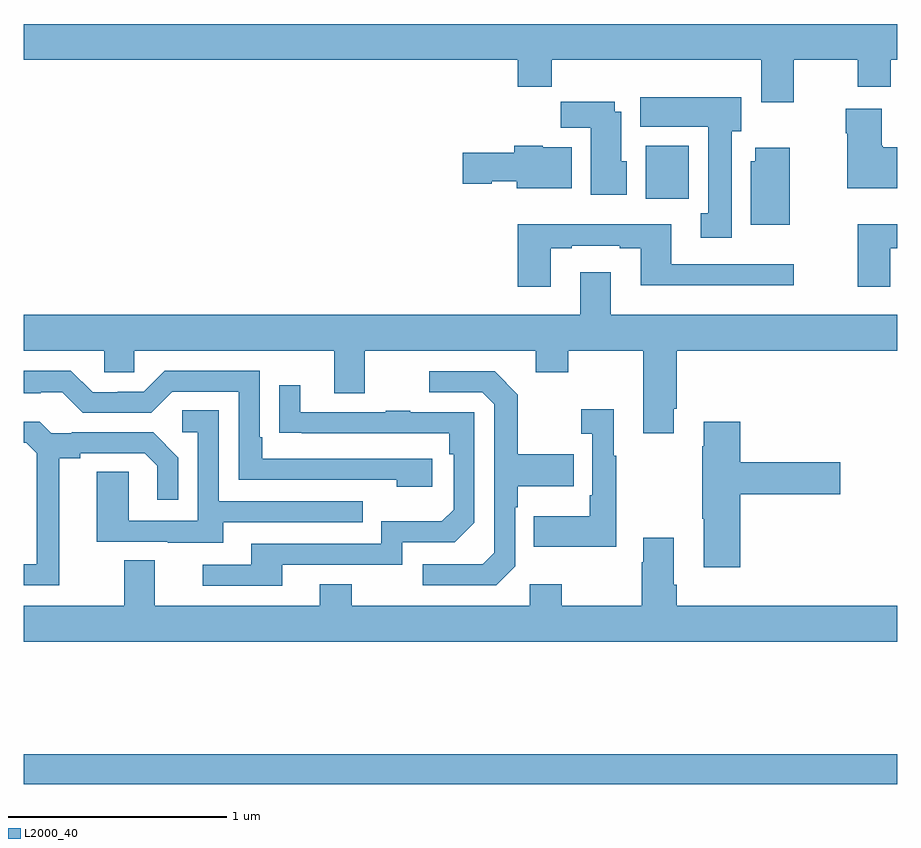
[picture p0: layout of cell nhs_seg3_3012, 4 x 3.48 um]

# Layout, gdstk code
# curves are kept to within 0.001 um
import gdstk
lib = gdstk.Library(unit=1e-6, precision=1e-09)
def R(c, l, rs):  # rectangles x0, y0, x1, y1
    for r in rs: c.add(gdstk.rectangle(r[:2], r[2:], *l))
def P(c, l, *ps):  # polygons
    for p in ps: c.add(gdstk.Polygon(p, *l))
L2000_40 = (2000, 40)

nhs_seg3_3012 = lib.new_cell('nhs_seg3_3012')
R(nhs_seg3_3012, L2000_40, [(267,714.916,271,715.052), (269.849,717.596,270.046,717.838)])
P(nhs_seg3_3012, L2000_40, [(270.525,718.232),(270.82,718.232),(270.82,718.108),(270.971,718.108),(270.971,718.232),(271,718.232),(271,718.396),(267,718.396),(267,718.232),(269.261,718.232),(269.261,718.108),(269.417,718.108),(269.417,718.232),(270.377,718.232),(270.377,718.038),(270.525,718.038)],
  [(270.241,717.906),(270.286,717.906),(270.286,718.06),(269.822,718.06),(269.822,717.926),(270.134,717.926),(270.134,717.53),(270.101,717.53),(270.101,717.417),(270.241,717.417)],
  [(269.761,717.768),(269.737,717.768),(269.737,717.994),(269.707,717.994),(269.707,718.039),(269.458,718.039),(269.458,717.92),(269.597,717.92),(269.597,717.614),(269.761,717.614)],
  [(271,717.832),(270.934,717.832),(270.934,717.838),(270.928,717.838),(270.928,718.009),(270.763,718.009),(270.763,717.896),(270.77,717.896),(270.77,717.644),(271,717.644)],
  [(269.509,717.832),(269.376,717.832),(269.376,717.838),(269.246,717.838),(269.246,717.807),(269.01,717.807),(269.01,717.665),(269.142,717.665),(269.142,717.677),(269.258,717.677),(269.258,717.644),(269.509,717.644)],
  [(270.508,717.829),(270.35,717.829),(270.35,717.768),(270.329,717.768),(270.329,717.476),(270.508,717.476)],
  [(270.967,717.369),(271,717.369),(271,717.478),(270.82,717.478),(270.82,717.192),(270.967,717.192)],
  [(269.413,717.369),(269.509,717.369),(269.509,717.381),(269.729,717.381),(269.729,717.369),(269.825,717.369),(269.825,717.2),(270.526,717.2),(270.526,717.297),(269.965,717.297),(269.965,717.478),(269.261,717.478),(269.261,717.192),(269.413,717.192)],
  [(269.977,716.635),(269.99,716.635),(269.99,716.9),(271,716.9),(271,717.064),(269.689,717.064),(269.689,717.259),(269.549,717.259),(269.549,717.064),(267,717.064),(267,716.9),(267.369,716.9),(267.369,716.802),(267.507,716.802),(267.507,716.9),(268.421,716.9),(268.421,716.706),(268.561,716.706),(268.561,716.9),(269.345,716.9),(269.345,716.801),(269.493,716.801),(269.493,716.9),(269.837,716.9),(269.837,716.523),(269.977,716.523)],
  [(268.87,716.406),(268.093,716.406),(268.093,716.503),(268.08,716.503),(268.08,716.808),(267.645,716.808),(267.549,716.712),(267.431,716.712),(267.431,716.709),(267.315,716.709),(267.215,716.809),(267,716.809),(267,716.705),(267.077,716.705),(267.077,716.709),(267.177,716.709),(267.27,716.616),(267.585,716.616),(267.681,716.712),(267.984,716.712),(267.984,716.31),(268.709,716.31),(268.709,716.276),(268.87,716.276)],
  [(269.25,715.914),(269.25,716.183),(269.263,716.183),(269.263,716.279),(269.519,716.279),(269.519,716.427),(269.263,716.427),(269.263,716.699),(269.157,716.805),(268.857,716.805),(268.857,716.709),(269.1,716.709),(269.154,716.655),(269.154,715.974),(269.103,715.923),(268.827,715.923),(268.827,715.827),(269.163,715.827)],
  [(268.183,715.92),(268.734,715.92),(268.734,716.022),(268.974,716.022),(269.064,716.112),(269.064,716.619),(268.769,716.619),(268.769,716.624),(268.657,716.624),(268.657,716.619),(268.267,716.619),(268.267,716.743),(268.171,716.743),(268.171,716.524),(268.948,716.523),(268.948,716.426),(268.968,716.426),(268.968,716.172),(268.915,716.119),(268.638,716.119),(268.638,716.016),(268.043,716.016),(268.043,715.92),(267.819,715.92),(267.819,715.824),(268.183,715.824)],
  [(269.713,716.419),(269.701,716.419),(269.701,716.632),(269.553,716.632),(269.553,716.519),(269.604,716.519),(269.604,716.239),(269.592,716.239),(269.592,716.143),(269.335,716.143),(269.335,716.003),(269.713,716.003)],
  [(267.913,716.115),(268.553,716.115),(268.553,716.211),(267.894,716.211),(267.894,716.627),(267.726,716.627),(267.726,716.526),(267.798,716.526),(267.798,716.121),(267.48,716.121),(267.48,716.345),(267.335,716.345),(267.335,716.025),(267.659,716.025),(267.659,716.021),(267.913,716.021)],
  [(267.163,716.408),(267.259,716.408),(267.259,716.43),(267.554,716.43),(267.611,716.373),(267.611,716.217),(267.708,716.217),(267.708,716.41),(267.592,716.526),(267.22,716.526),(267.22,716.523),(267.126,716.523),(267.074,716.575),(267,716.575),(267,716.478),(267.012,716.478),(267.059,716.431),(267.059,715.923),(267,715.923),(267,715.827),(267.163,715.827)],
  [(270.281,716.243),(270.739,716.243),(270.739,716.39),(270.281,716.39),(270.281,716.575),(270.113,716.575),(270.113,716.462),(270.106,716.462),(270.106,716.131),(270.113,716.131),(270.113,715.908),(270.281,715.908)],
  [(271,715.732),(269.99,715.732),(269.99,715.828),(269.977,715.828),(269.977,716.044),(269.837,716.044),(269.837,715.931),(269.83,715.931),(269.83,715.732),(269.463,715.732),(269.463,715.831),(269.316,715.831),(269.316,715.732),(268.503,715.732),(268.503,715.831),(268.355,715.831),(268.355,715.732),(267.601,715.732),(267.601,715.94),(267.461,715.94),(267.461,715.732),(267,715.732),(267,715.568),(271,715.568)])

lib.write_gds('nhs_seg3_3012.gds')
